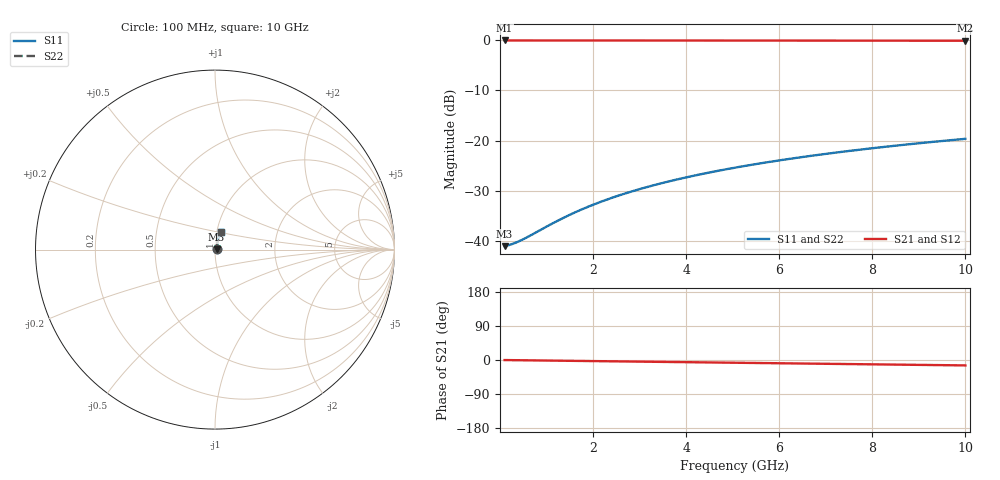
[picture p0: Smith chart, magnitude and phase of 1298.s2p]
# Hz S RI R 50.00
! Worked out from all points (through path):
!   100 points, 100 MHz to 10 GHz, reference 50 ohm
!   highest |S21| = -0.08 dB at 100 MHz (marker M1); lowest = -0.1 dB at 10 GHz (marker M2)
!   group delay of S21, straight-line fit = 3.97 ps
!   lowest |S11| = -41.0 dB at 100 MHz (marker M3), VSWR 1.02, Z = 50.9 + j0.105 ohm
!   |S11| at or under -10 dB: start of sweep to end of sweep
!   |S22| runs from -41.0 to -19.7 dB; largest |S21 - S12| = 0
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1e8  0.00881 0.00103  0.9912 -0.00248  0.9912 -0.00248  0.00881 0.00103
2e8  0.00888 0.00206  0.9911 -0.00496  0.9911 -0.00496  0.00888 0.00206
3e8  0.00893 0.00308  0.9911 -0.00744  0.9911 -0.00744  0.00893 0.00308
4e8  0.00898 0.00411  0.991 -0.00992  0.991 -0.00992  0.00898 0.00411
6e8  0.00909 0.00617  0.9909 -0.0149  0.9909 -0.0149  0.00909 0.00617
1.1e9  0.00941 0.0113  0.9904 -0.0273  0.9904 -0.0273  0.00941 0.0113
1.3e9  0.00956 0.0133  0.9902 -0.0322  0.9902 -0.0322  0.00956 0.0133
1.5e9  0.00973 0.0154  0.99 -0.0372  0.99 -0.0372  0.00973 0.0154
1.8e9  0.01 0.0185  0.9896 -0.0446  0.9896 -0.0446  0.01 0.0185
2.1e9  0.0104 0.0215  0.9891 -0.052  0.9891 -0.052  0.0104 0.0215
2.5e9  0.0109 0.0256  0.9884 -0.0619  0.9884 -0.0619  0.0109 0.0256
2.9e9  0.0115 0.0297  0.9876 -0.0717  0.9876 -0.0717  0.0115 0.0297
3.4e9  0.0123 0.0347  0.9864 -0.0841  0.9864 -0.0841  0.0123 0.0347
3.8e9  0.0131 0.0387  0.9853 -0.0939  0.9853 -0.0939  0.0131 0.0387
4.2e9  0.0139 0.0428  0.9841 -0.1037  0.9841 -0.1037  0.0139 0.0428
4.6e9  0.0149 0.0467  0.9828 -0.1135  0.9828 -0.1135  0.0149 0.0467
5.1e9  0.0161 0.0517  0.981 -0.1257  0.981 -0.1257  0.0161 0.0517
5.9e9  0.0184 0.0596  0.9778 -0.1452  0.9778 -0.1452  0.0184 0.0596
6.7e9  0.021 0.0673  0.9741 -0.1645  0.9741 -0.1645  0.021 0.0673
7.5e9  0.0239 0.075  0.97 -0.1838  0.97 -0.1838  0.0239 0.075
8.4e9  0.0275 0.0834  0.9649 -0.2052  0.9649 -0.2052  0.0275 0.0834
1e10  0.0349 0.0979  0.9544 -0.2429  0.9544 -0.2429  0.0349 0.0979
